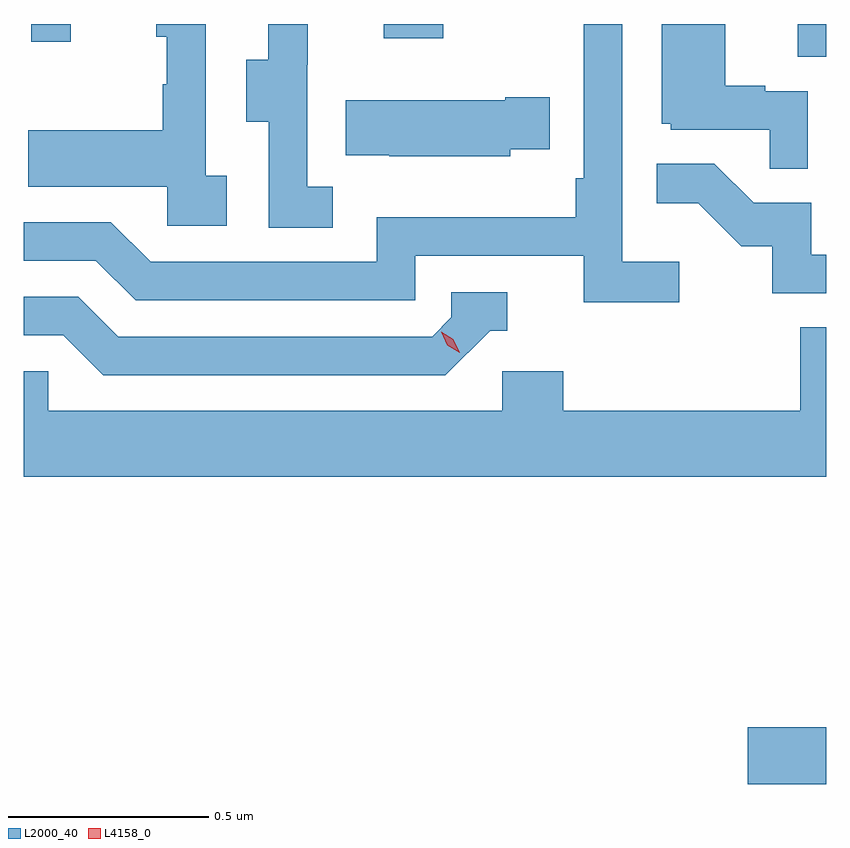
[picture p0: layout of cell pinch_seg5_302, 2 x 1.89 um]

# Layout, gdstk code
import gdstk
lib = gdstk.Library(unit=1e-6, precision=1e-09)
def R(c, l, rs):  # rectangles x0, y0, x1, y1
    for r in rs: c.add(gdstk.rectangle(r[:2], r[2:], *l))
def P(c, l, *ps):  # polygons
    for p in ps: c.add(gdstk.Polygon(p, *l))
L2000_40 = (2000, 40)
L4158_0 = (4158, 0)

pinch_seg5_302 = lib.new_cell('pinch_seg5_302')
R(pinch_seg5_302, L2000_40, [(905.262,886.63,905.458,886.772), (905.387,888.442,905.458,888.524), (903.477,888.48,903.575,888.524), (904.355,888.489,904.503,888.524)])
P(pinch_seg5_302, L2000_40, [(903.964,888.146),(903.912,888.146),(903.912,888.524),(903.788,888.524),(903.788,888.492),(903.814,888.492),(903.814,888.374),(903.804,888.374),(903.804,888.259),(903.469,888.259),(903.469,888.119),(903.816,888.119),(903.816,888.021),(903.964,888.021)],
  [(905.412,888.357),(905.306,888.357),(905.306,888.37),(905.206,888.37),(905.206,888.524),(905.048,888.524),(905.048,888.276),(905.07,888.276),(905.07,888.261),(905.317,888.261),(905.317,888.163),(905.412,888.163)],
  [(905.092,887.932),(904.95,887.932),(904.95,888.524),(904.854,888.524),(904.854,888.139),(904.834,888.139),(904.834,888.043),(904.338,888.043),(904.338,887.931),(903.774,887.931),(903.675,888.03),(903.458,888.03),(903.458,887.934),(903.638,887.934),(903.737,887.835),(904.434,887.835),(904.434,887.946),(904.853,887.946),(904.853,887.83),(905.092,887.83)],
  [(904.228,888.119),(904.164,888.119),(904.164,888.423),(904.166,888.423),(904.166,888.524),(904.067,888.524),(904.067,888.435),(904.013,888.435),(904.013,888.28),(904.068,888.28),(904.068,888.016),(904.228,888.016)],
  [(904.671,888.212),(904.769,888.212),(904.769,888.342),(904.658,888.342),(904.658,888.334),(904.261,888.334),(904.261,888.197),(904.369,888.197),(904.369,888.194),(904.671,888.194)],
  [(905.458,887.949),(905.421,887.949),(905.421,888.078),(905.277,888.078),(905.179,888.176),(905.035,888.176),(905.035,888.077),(905.139,888.077),(905.246,887.97),(905.323,887.97),(905.323,887.853),(905.458,887.853)],
  [(904.62,887.76),(904.663,887.76),(904.663,887.856),(904.524,887.856),(904.524,887.793),(904.476,887.745),(903.693,887.745),(903.594,887.844),(903.458,887.844),(903.458,887.748),(903.557,887.748),(903.656,887.649),(904.509,887.649)],
  [(905.458,887.768),(905.393,887.768),(905.393,887.56),(904.802,887.56),(904.802,887.658),(904.65,887.658),(904.65,887.56),(903.519,887.56),(903.519,887.658),(903.458,887.658),(903.458,887.396),(905.458,887.396)])
P(pinch_seg5_302, L4158_0, [(904.545,887.705),(904.514,887.724),(904.498,887.757),(904.498,887.757),(904.498,887.757),(904.529,887.738),(904.545,887.705),(904.545,887.705)])

lib.write_gds('pinch_seg5_302.gds')
